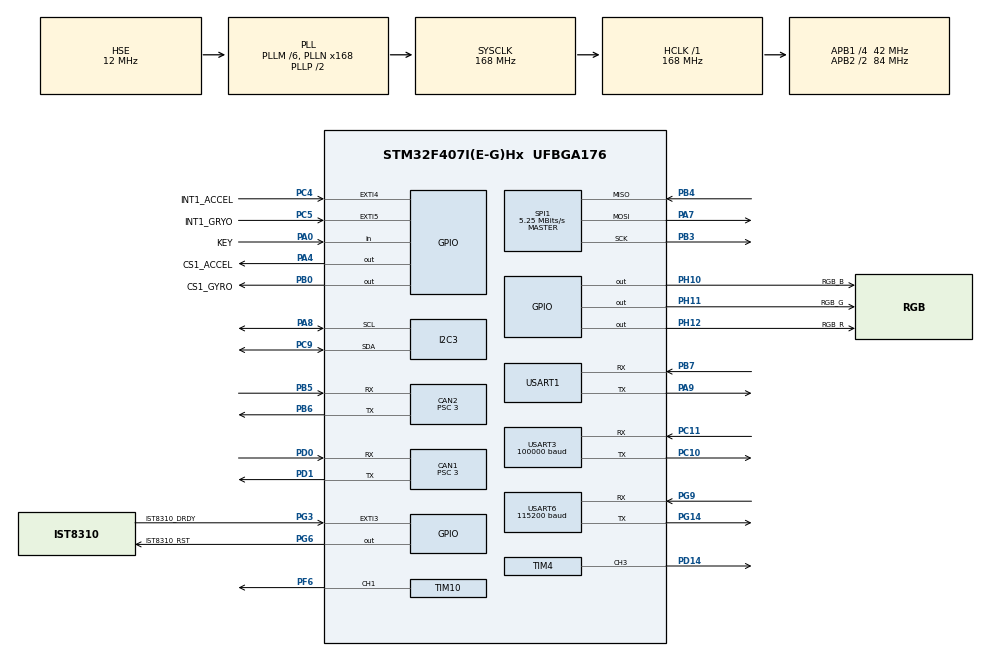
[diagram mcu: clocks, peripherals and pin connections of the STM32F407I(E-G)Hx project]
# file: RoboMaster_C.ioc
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CAN1.ABOM=DISABLE
CAN1.BS1=CAN_BS1_10TQ
CAN1.BS2=CAN_BS2_3TQ
CAN1.CalculateBaudRate=1000000
CAN1.CalculateTimeBit=1000
CAN1.CalculateTimeQuantum=71.42857142857143
CAN1.Prescaler=3
CAN2.ABOM=ENABLE
CAN2.BS1=CAN_BS1_10TQ
CAN2.BS2=CAN_BS2_3TQ
CAN2.CalculateBaudRate=1000000
CAN2.CalculateTimeBit=1000
CAN2.CalculateTimeQuantum=71.42857142857143
CAN2.NART=ENABLE
CAN2.Prescaler=3
Dma.Request0=USART1_RX
Dma.Request1=USART1_TX
Dma.Request2=USART6_RX
Dma.Request3=USART6_TX
Dma.Request4=SPI1_RX
Dma.Request5=SPI1_TX
Dma.Request6=USART3_RX
Dma.SPI1_RX.4.Direction=DMA_PERIPH_TO_MEMORY
Dma.SPI1_RX.4.FIFOMode=DMA_FIFOMODE_DISABLE
Dma.SPI1_RX.4.Instance=DMA2_Stream2
Dma.SPI1_RX.4.MemDataAlignment=DMA_MDATAALIGN_BYTE
Dma.SPI1_RX.4.MemInc=DMA_MINC_ENABLE
Dma.SPI1_RX.4.Mode=DMA_NORMAL
Dma.SPI1_RX.4.PeriphDataAlignment=DMA_PDATAALIGN_BYTE
Dma.SPI1_RX.4.PeriphInc=DMA_PINC_DISABLE
Dma.SPI1_RX.4.Priority=DMA_PRIORITY_VERY_HIGH
Dma.SPI1_TX.5.Direction=DMA_MEMORY_TO_PERIPH
Dma.SPI1_TX.5.FIFOMode=DMA_FIFOMODE_DISABLE
Dma.SPI1_TX.5.Instance=DMA2_Stream3
Dma.SPI1_TX.5.MemDataAlignment=DMA_MDATAALIGN_BYTE
Dma.SPI1_TX.5.MemInc=DMA_MINC_ENABLE
Dma.SPI1_TX.5.Mode=DMA_NORMAL
Dma.SPI1_TX.5.PeriphDataAlignment=DMA_PDATAALIGN_BYTE
Dma.SPI1_TX.5.PeriphInc=DMA_PINC_DISABLE
Dma.SPI1_TX.5.Priority=DMA_PRIORITY_HIGH
Dma.USART1_RX.0.Direction=DMA_PERIPH_TO_MEMORY
Dma.USART1_RX.0.FIFOMode=DMA_FIFOMODE_DISABLE
Dma.USART1_RX.0.Instance=DMA2_Stream5
Dma.USART1_RX.0.MemDataAlignment=DMA_MDATAALIGN_BYTE
Dma.USART1_RX.0.MemInc=DMA_MINC_ENABLE
Dma.USART1_RX.0.Mode=DMA_NORMAL
Dma.USART1_RX.0.PeriphDataAlignment=DMA_PDATAALIGN_BYTE
Dma.USART1_RX.0.PeriphInc=DMA_PINC_DISABLE
Dma.USART1_RX.0.Priority=DMA_PRIORITY_VERY_HIGH
Dma.USART1_TX.1.Direction=DMA_MEMORY_TO_PERIPH
Dma.USART1_TX.1.FIFOMode=DMA_FIFOMODE_DISABLE
Dma.USART1_TX.1.Instance=DMA2_Stream7
Dma.USART1_TX.1.MemDataAlignment=DMA_MDATAALIGN_BYTE
Dma.USART1_TX.1.MemInc=DMA_MINC_ENABLE
Dma.USART1_TX.1.Mode=DMA_NORMAL
Dma.USART1_TX.1.PeriphDataAlignment=DMA_PDATAALIGN_BYTE
Dma.USART1_TX.1.PeriphInc=DMA_PINC_DISABLE
Dma.USART1_TX.1.Priority=DMA_PRIORITY_VERY_HIGH
Dma.USART3_RX.6.Direction=DMA_PERIPH_TO_MEMORY
Dma.USART3_RX.6.FIFOMode=DMA_FIFOMODE_DISABLE
Dma.USART3_RX.6.Instance=DMA1_Stream1
Dma.USART3_RX.6.MemDataAlignment=DMA_MDATAALIGN_BYTE
Dma.USART3_RX.6.MemInc=DMA_MINC_ENABLE
Dma.USART3_RX.6.Mode=DMA_NORMAL
Dma.USART3_RX.6.PeriphDataAlignment=DMA_PDATAALIGN_BYTE
Dma.USART3_RX.6.PeriphInc=DMA_PINC_DISABLE
Dma.USART3_RX.6.Priority=DMA_PRIORITY_VERY_HIGH
Dma.USART6_RX.2.Direction=DMA_PERIPH_TO_MEMORY
Dma.USART6_RX.2.FIFOMode=DMA_FIFOMODE_DISABLE
Dma.USART6_RX.2.Instance=DMA2_Stream1
Dma.USART6_RX.2.MemDataAlignment=DMA_MDATAALIGN_BYTE
Dma.USART6_RX.2.MemInc=DMA_MINC_ENABLE
Dma.USART6_RX.2.Mode=DMA_CIRCULAR
Dma.USART6_RX.2.PeriphDataAlignment=DMA_PDATAALIGN_BYTE
Dma.USART6_RX.2.PeriphInc=DMA_PINC_DISABLE
Dma.USART6_RX.2.Priority=DMA_PRIORITY_VERY_HIGH
Dma.USART6_TX.3.Direction=DMA_MEMORY_TO_PERIPH
Dma.USART6_TX.3.FIFOMode=DMA_FIFOMODE_DISABLE
Dma.USART6_TX.3.Instance=DMA2_Stream6
Dma.USART6_TX.3.MemDataAlignment=DMA_MDATAALIGN_BYTE
Dma.USART6_TX.3.MemInc=DMA_MINC_ENABLE
Dma.USART6_TX.3.Mode=DMA_NORMAL
Dma.USART6_TX.3.PeriphDataAlignment=DMA_PDATAALIGN_BYTE
Dma.USART6_TX.3.PeriphInc=DMA_PINC_DISABLE
Dma.USART6_TX.3.Priority=DMA_PRIORITY_VERY_HIGH
FREERTOS.Tasks01=defaultTask,24,128,StartDefaultTask,Default,NULL,Dynamic,NULL,NULL
FREERTOS.configGENERATE_RUN_TIME_STATS=1
FREERTOS.configRECORD_STACK_HIGH_ADDRESS=1
I2C3.I2C_Mode=I2C_Fast
Mcu.Family=STM32F4
Mcu.Name=STM32F407I(E-G)Hx
Mcu.Package=UFBGA176
NVIC.CAN1_RX0_IRQn=true\:5\:0\:false\:false\:true\:true\:true\:true\:true
NVIC.CAN2_RX0_IRQn=true\:5\:0\:false\:false\:true\:true\:true\:true\:true
NVIC.DMA1_Stream1_IRQn=true\:5\:0\:false\:false\:true\:true\:false\:true\:true
NVIC.DMA2_Stream1_IRQn=true\:5\:0\:false\:false\:true\:true\:false\:true\:true
NVIC.DMA2_Stream2_IRQn=true\:5\:0\:true\:false\:true\:true\:false\:true\:true
NVIC.DMA2_Stream3_IRQn=true\:5\:0\:false\:false\:true\:true\:false\:true\:true
NVIC.DMA2_Stream5_IRQn=true\:5\:0\:false\:false\:true\:true\:false\:true\:true
NVIC.DMA2_Stream6_IRQn=true\:5\:0\:false\:false\:true\:true\:false\:true\:true
NVIC.DMA2_Stream7_IRQn=true\:5\:0\:false\:false\:true\:true\:false\:true\:true
NVIC.EXTI3_IRQn=true\:5\:0\:false\:false\:true\:true\:true\:true\:true
NVIC.EXTI4_IRQn=true\:5\:0\:false\:false\:true\:true\:true\:true\:true
NVIC.EXTI9_5_IRQn=true\:5\:0\:false\:false\:true\:true\:true\:true\:true
NVIC.PriorityGroup=NVIC_PRIORITYGROUP_4
NVIC.TIM6_DAC_IRQn=true\:5\:0\:false\:false\:true\:true\:true\:true\:true
NVIC.TIM7_IRQn=true\:15\:0\:false\:false\:true\:false\:false\:true\:true
NVIC.TimeBase=TIM7_IRQn
NVIC.TimeBaseIP=TIM7
NVIC.USART1_IRQn=true\:5\:0\:false\:false\:true\:true\:true\:true\:true
NVIC.USART3_IRQn=true\:5\:0\:false\:false\:true\:true\:true\:true\:true
NVIC.USART6_IRQn=true\:5\:0\:false\:false\:true\:true\:false\:true\:true
PA0-WKUP.GPIO_Label=KEY
PA0-WKUP.GPIO_PuPd=GPIO_PULLUP
PA0-WKUP.Signal=GPIO_Input
PA4.GPIO_Label=CS1_ACCEL
PA4.GPIO_PuPd=GPIO_PULLUP
PA4.GPIO_Speed=GPIO_SPEED_FREQ_HIGH
PA4.PinState=GPIO_PIN_SET
PA4.Signal=GPIO_Output
PA7.Mode=Full_Duplex_Master
PA7.Signal=SPI1_MOSI
PA8.GPIO_Pu=GPIO_PULLUP
PA8.Mode=I2C
PA8.Signal=I2C3_SCL
PA9.GPIO_PuPd=GPIO_PULLUP
PA9.Mode=Asynchronous
PA9.Signal=USART1_TX
PB0.GPIO_Label=CS1_GYRO
PB0.GPIO_PuPd=GPIO_PULLUP
PB0.GPIO_Speed=GPIO_SPEED_FREQ_HIGH
PB0.PinState=GPIO_PIN_SET
PB0.Signal=GPIO_Output
PB3.Mode=Full_Duplex_Master
PB3.Signal=SPI1_SCK
PB4.Mode=Full_Duplex_Master
PB4.Signal=SPI1_MISO
PB5.Mode=CAN_Activate
PB5.Signal=CAN2_RX
PB6.Mode=CAN_Activate
PB6.Signal=CAN2_TX
PB7.GPIO_PuPd=GPIO_PULLUP
PB7.Mode=Asynchronous
PB7.Signal=USART1_RX
PC10.GPIO_PuPd=GPIO_PULLUP
PC10.Mode=Asynchronous
PC10.Signal=USART3_TX
PC11.GPIO_PuPd=GPIO_PULLUP
PC11.Mode=Asynchronous
PC11.Signal=USART3_RX
PC4.GPIO_Label=INT1_ACCEL
PC4.GPIO_ModeDefaultEXTI=GPIO_MODE_IT_FALLING
PC4.GPIO_PuPd=GPIO_PULLUP
PC4.Signal=GPXTI4
PC5.GPIO_Label=INT1_GRYO
PC5.GPIO_ModeDefaultEXTI=GPIO_MODE_IT_FALLING
PC5.GPIO_PuPd=GPIO_PULLUP
PC5.Signal=GPXTI5
PC9.GPIO_Pu=GPIO_PULLUP
PC9.Mode=I2C
PC9.Signal=I2C3_SDA
PD0.Mode=CAN_Activate
PD0.Signal=CAN1_RX
PD1.Mode=CAN_Activate
PD1.Signal=CAN1_TX
PD14.Signal=S_TIM4_CH3
PF6.GPIO_ModeDefaultPP=GPIO_MODE_AF_PP
PF6.GPIO_PuPd=GPIO_PULLUP
PF6.GPIO_Speed=GPIO_SPEED_FREQ_HIGH
PF6.Signal=S_TIM10_CH1
PG14.GPIO_PuPd=GPIO_PULLUP
PG14.Mode=Asynchronous
PG14.Signal=USART6_TX
PG3.GPIO_Label=IST8310_DRDY
PG3.GPIO_ModeDefaultEXTI=GPIO_MODE_IT_FALLING
PG3.GPIO_PuPd=GPIO_PULLUP
PG3.Signal=GPXTI3
PG6.GPIO_Label=IST8310_RST
PG6.GPIO_PuPd=GPIO_PULLUP
PG6.GPIO_Speed=GPIO_SPEED_FREQ_MEDIUM
PG6.PinState=GPIO_PIN_SET
PG6.Signal=GPIO_Output
PG9.GPIO_PuPd=GPIO_PULLUP
PG9.Mode=Asynchronous
PG9.Signal=USART6_RX
PH0-OSC_IN.Mode=HSE-External-Oscillator
PH0-OSC_IN.Signal=RCC_OSC_IN
PH1-OSC_OUT.Mode=HSE-External-Oscillator
PH1-OSC_OUT.Signal=RCC_OSC_OUT
PH10.GPIO_Label=RGB_B
PH10.Signal=GPIO_Output
PH11.GPIO_Label=RGB_G
PH11.Signal=GPIO_Output
PH12.GPIO_Label=RGB_R
PH12.Signal=GPIO_Output
ProjectManager.HeapSize=0x200
ProjectManager.StackSize=0x400
ProjectManager.TargetToolchain=CMake
RCC.48MHZClocksFreq_Value=84000000
RCC.AHBFreq_Value=168000000
RCC.APB1CLKDivider=RCC_HCLK_DIV4
RCC.APB1Freq_Value=42000000
RCC.APB1TimFreq_Value=84000000
RCC.APB2CLKDivider=RCC_HCLK_DIV2
RCC.APB2Freq_Value=84000000
RCC.APB2TimFreq_Value=168000000
RCC.CortexFreq_Value=168000000
RCC.HCLKFreq_Value=168000000
RCC.HSE_VALUE=12000000
RCC.HSI_VALUE=16000000
RCC.LSE_VALUE=32768
RCC.PLLM=6
RCC.PLLN=168
RCC.PLLSourceVirtual=RCC_PLLSOURCE_HSE
RCC.SYSCLKFreq_VALUE=168000000
RCC.SYSCLKSource=RCC_SYSCLKSOURCE_PLLCLK
RCC.VCOOutputFreq_Value=336000000
SH.S_TIM10_CH1.0=TIM10_CH1,PWM Generation1 CH1
SH.S_TIM4_CH3.0=TIM4_CH3,PWM Generation3 CH3
SPI1.BaudRatePrescaler=SPI_BAUDRATEPRESCALER_16
SPI1.CLKPhase=SPI_PHASE_2EDGE
SPI1.CLKPolarity=SPI_POLARITY_HIGH
SPI1.CalculateBaudRate=5.25 MBits/s
SPI1.Direction=SPI_DIRECTION_2LINES
SPI1.Mode=SPI_MODE_MASTER
SPI1.VirtualType=VM_MASTER
TIM10.Channel=TIM_CHANNEL_1
TIM10.Period=5000-1
TIM4.Channel-PWM\ Generation3\ CH3=TIM_CHANNEL_3
TIM4.Period=21000-1
TIM6.AutoReloadPreload=TIM_AUTORELOAD_PRELOAD_ENABLE
TIM6.Period=100-1
TIM6.Prescaler=84-1
USART1.VirtualMode=VM_ASYNC
USART3.BaudRate=100000
USART3.Mode=MODE_RX
USART3.Parity=PARITY_EVEN
USART3.StopBits=STOPBITS_2
USART3.VirtualMode=VM_ASYNC
USART3.WordLength=WORDLENGTH_9B
USART6.BaudRate=115200
USART6.Parity=PARITY_NONE
USART6.StopBits=STOPBITS_1
USART6.VirtualMode=VM_ASYNC
USART6.WordLength=WORDLENGTH_8B
VP_FREERTOS_VS_CMSIS_V2.Mode=CMSIS_V2
VP_SYS_VS_tim7.Mode=TIM7
VP_TIM10_VS_ClockSourceINT.Mode=Enable_Timer
VP_TIM4_VS_ClockSourceINT.Mode=Internal
VP_TIM6_VS_ClockSourceINT.Mode=Enable_Timer
board=custom

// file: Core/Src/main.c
/* USER CODE BEGIN Header */
/**
 ******************************************************************************
 * @file           : main.c
 * @brief          : Main program body
 ******************************************************************************
 * @attention
 *
 * Copyright (c) 2025 STMicroelectronics.
 * All rights reserved.
 *
 * This software is licensed under terms that can be found in the LICENSE file
 * in the root directory of this software component.
 * If no LICENSE file comes with this software, it is provided AS-IS.
 *
 ******************************************************************************
 */
/* USER CODE END Header */
#include "main.h"
#include "can.h"
#include "cmsis_os.h"
#include "dma.h"
#include "gpio.h"
#include "i2c.h"
#include "spi.h"
#include "tim.h"
#include "usart.h"

/* USER CODE BEGIN Includes */
#include "IMU.h"
#include "bsp_sbus.h"
#include "bsp_uart.h"
#include "led.h"
#include "temperature_IMU_pid.h"
#include <stdint.h>

/* USER CODE END Includes */

/* USER CODE BEGIN PV */
extern uint8_t uart1data[100];
int counter1ms = 0;
int counter5ms = 0;
int counter10ms = 0;
int counter100ms = 0;
int counter1s = 0;
int motor1_current = 0;
uint32_t nowtime = 0;
extern osSemaphoreId_t controlSemHandle;
extern osSemaphoreId_t imuSemHandle;
/* USER CODE END PV */

void SystemClock_Config(void);
void MX_FREERTOS_Init(void);

int main(void) {

  /* MCU Configuration--------------------------------------------------------*/

  /* Reset of all peripherals, Initializes the Flash interface and the Systick.
   */
  HAL_Init();

  /* Configure the system clock */
  SystemClock_Config();

  /* Initialize all configured peripherals */
  MX_GPIO_Init();
  MX_DMA_Init();
  MX_USART1_UART_Init();
  MX_USART6_UART_Init();
  MX_CAN1_Init();
  MX_CAN2_Init();
  MX_TIM6_Init();
  MX_SPI1_Init();
  MX_TIM10_Init();
  MX_I2C3_Init();
  MX_TIM4_Init();
  MX_USART3_UART_Init();

  /* Init scheduler */
  osKernelInitialize(); /* Call init function for freertos objects (in
                           cmsis_os2.c) */
  MX_FREERTOS_Init();

  /* Start scheduler */
  osKernelStart();

  /* We should never get here as control is now taken by the scheduler */

  /* Infinite loop */
  while (1) {

  }
}

void SystemClock_Config(void) {
  RCC_OscInitTypeDef RCC_OscInitStruct = {0};
  RCC_ClkInitTypeDef RCC_ClkInitStruct = {0};

  /** Configure the main internal regulator output voltage
   */
  __HAL_RCC_PWR_CLK_ENABLE();
  __HAL_PWR_VOLTAGESCALING_CONFIG(PWR_REGULATOR_VOLTAGE_SCALE1);

  /** Initializes the RCC Oscillators according to the specified parameters
   * in the RCC_OscInitTypeDef structure.
   */
  RCC_OscInitStruct.OscillatorType = RCC_OSCILLATORTYPE_HSE;
  RCC_OscInitStruct.HSEState = RCC_HSE_ON;
  RCC_OscInitStruct.PLL.PLLState = RCC_PLL_ON;
  RCC_OscInitStruct.PLL.PLLSource = RCC_PLLSOURCE_HSE;
  RCC_OscInitStruct.PLL.PLLM = 6;
  RCC_OscInitStruct.PLL.PLLN = 168;
  RCC_OscInitStruct.PLL.PLLP = RCC_PLLP_DIV2;
  RCC_OscInitStruct.PLL.PLLQ = 4;
  if (HAL_RCC_OscConfig(&RCC_OscInitStruct) != HAL_OK) {
    Error_Handler();
  }

  /** Initializes the CPU, AHB and APB buses clocks
   */
  RCC_ClkInitStruct.ClockType = RCC_CLOCKTYPE_HCLK | RCC_CLOCKTYPE_SYSCLK |
                                RCC_CLOCKTYPE_PCLK1 | RCC_CLOCKTYPE_PCLK2;
  RCC_ClkInitStruct.SYSCLKSource = RCC_SYSCLKSOURCE_PLLCLK;
  RCC_ClkInitStruct.AHBCLKDivider = RCC_SYSCLK_DIV1;
  RCC_ClkInitStruct.APB1CLKDivider = RCC_HCLK_DIV4;
  RCC_ClkInitStruct.APB2CLKDivider = RCC_HCLK_DIV2;

  if (HAL_RCC_ClockConfig(&RCC_ClkInitStruct, FLASH_LATENCY_5) != HAL_OK) {
    Error_Handler();
  }
}

void HAL_TIM_PeriodElapsedCallback(TIM_HandleTypeDef *htim) {
  /* USER CODE BEGIN Callback 0 */
  if (htim->Instance == TIM6) {
    nowtime++;
    counter1ms++;
    counter5ms++;
    counter10ms++;
    counter100ms++;
    counter1s++;
    // 基础定时器为100us（0.1ms）
    if (counter1ms >= 10) {
      counter1ms = 0;
      // 1ms 周期：通过信号量唤醒
      if (controlSemHandle != NULL) {
        osSemaphoreRelease(controlSemHandle); // 控制任务
        osSemaphoreRelease(imuSemHandle);     // IMU 任务
      }
    }
    if (counter5ms >= 50) {
      counter5ms = 0;
      // 5ms 周期：通过信号量唤醒 （200Hz）
      if (imuSemHandle != NULL) {
      }
    }
    if (counter10ms >= 100) {
      counter10ms = 0;
      // 10ms 周期任务钩子
    }
    if (counter100ms >= 1000) {
      counter100ms = 0;
      // 100ms 周期任务钩子
    }
    if (counter1s >= 10000) {
      counter1s = 0;
      // 1s 周期任务钩子
    }
  }
  /* USER CODE END Callback 0 */
  if (htim->Instance == TIM7) {
    HAL_IncTick();
  }
}

void Error_Handler(void) {
  __disable_irq();
  while (1) {
  }
}
#ifdef USE_FULL_ASSERT
/**
 * @brief  Reports the name of the source file and the source line number
 *         where the assert_param error has occurred.
 * @param  file: pointer to the source file name
 * @param  line: assert_param error line source number
 * @retval None
 */
void assert_failed(uint8_t *file, uint32_t line) {
  /* USER CODE BEGIN 6 */
  /* User can add his own implementation to report the file name and line
     number, ex: printf("Wrong parameters value: file %s on line %d\r\n", file,
     line) */
  /* USER CODE END 6 */
}
#endif /* USE_FULL_ASSERT */

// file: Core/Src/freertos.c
/* USER CODE BEGIN Header */
/**
  ******************************************************************************
  * File Name          : freertos.c
  * Description        : Code for freertos applications
  ******************************************************************************
  * @attention
  *
  * Copyright (c) 2025 STMicroelectronics.
  * All rights reserved.
  *
  * This software is licensed under terms that can be found in the LICENSE file
  * in the root directory of this software component.
  * If no LICENSE file comes with this software, it is provided AS-IS.
  *
  ******************************************************************************
  */
/* USER CODE END Header */

#include "FreeRTOS.h"
#include "task.h"
#include "main.h"
#include "cmsis_os.h"

/* USER CODE BEGIN Includes */
#include "task_user.h"
/* USER CODE END Includes */

/* USER CODE BEGIN Variables */
osThreadId_t initTaskHandle;
const osThreadAttr_t initTask_attributes = {
  .name = "initTask",
  .stack_size = 256 * 4,
  .priority = (osPriority_t) osPriorityHigh,
};

osThreadId_t tempControlTaskHandle;
const osThreadAttr_t tempControlTask_attributes = {
  .name = "tempControlTask",
  .stack_size = 256 * 4,
  .priority = (osPriority_t) osPriorityHigh,
};

osThreadId_t monitorTaskHandle;
const osThreadAttr_t monitorTask_attributes = {
  .name = "monitorTask",
  .stack_size = 256 * 4,
  .priority = (osPriority_t) osPriorityNormal,
};

osThreadId_t imuTaskHandle;
const osThreadAttr_t imuTask_attributes = {
  .name = "imuTask",
  .stack_size = 512 * 4,
  .priority = (osPriority_t) osPriorityHigh,
};

osThreadId_t controlTaskHandle;
const osThreadAttr_t controlTask_attributes = {
  .name = "controlTask",
  .stack_size = 512 * 4,
  .priority = (osPriority_t)osPriorityRealtime,
};

osSemaphoreId_t controlSemHandle;
osSemaphoreId_t imuSemHandle;
/* USER CODE END Variables */
/* Definitions for defaultTask */
osThreadId_t defaultTaskHandle;
const osThreadAttr_t defaultTask_attributes = {
  .name = "defaultTask",
  .stack_size = 128 * 4,
  .priority = (osPriority_t) osPriorityNormal,
};

/* USER CODE BEGIN FunctionPrototypes */
void System_InitTask(void *argument);
void Temperature_ControlTask(void *argument);
void Monitor_Task(void *argument);
void IMU_Task(void *argument);
void Control_1kHz_Task(void *argument);
/* USER CODE END FunctionPrototypes */

void StartDefaultTask(void *argument);

void MX_FREERTOS_Init(void); /* (MISRA C 2004 rule 8.1) */

/* Hook prototypes */
void configureTimerForRunTimeStats(void);
unsigned long getRunTimeCounterValue(void);

/* USER CODE BEGIN 1 */
/* Functions needed when configGENERATE_RUN_TIME_STATS is on */
__weak void configureTimerForRunTimeStats(void)
{

}

__weak unsigned long getRunTimeCounterValue(void)
{
return 0;
}
/* USER CODE END 1 */

void MX_FREERTOS_Init(void) {

  /* USER CODE BEGIN RTOS_SEMAPHORES */
  /* add semaphores, ... */
  controlSemHandle = osSemaphoreNew(1, 0, NULL);
  imuSemHandle     = osSemaphoreNew(1, 0, NULL);
  /* USER CODE END RTOS_SEMAPHORES */

  /* Create the thread(s) */
  /* creation of defaultTask */
  defaultTaskHandle = osThreadNew(StartDefaultTask, NULL, &defaultTask_attributes);

  /* USER CODE BEGIN RTOS_THREADS */
  /* add threads, ... */
  initTaskHandle = osThreadNew(System_InitTask, NULL, &initTask_attributes);
  tempControlTaskHandle = osThreadNew(Temperature_ControlTask, NULL, &tempControlTask_attributes);
  monitorTaskHandle = osThreadNew(Monitor_Task, NULL, &monitorTask_attributes);
  imuTaskHandle = osThreadNew(IMU_Task, NULL, &imuTask_attributes);
  controlTaskHandle = osThreadNew(Control_1kHz_Task, NULL, &controlTask_attributes);
  /* USER CODE END RTOS_THREADS */

}

void StartDefaultTask(void *argument)
{
  for(;;)
  {
    osDelay(1);
  }
}
